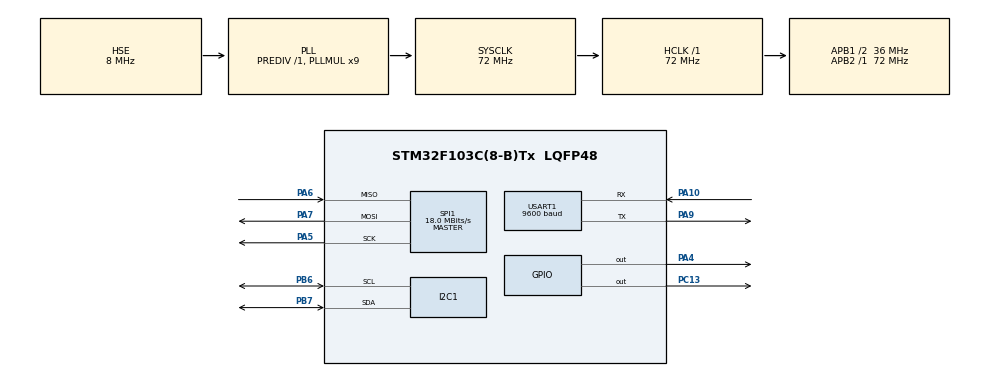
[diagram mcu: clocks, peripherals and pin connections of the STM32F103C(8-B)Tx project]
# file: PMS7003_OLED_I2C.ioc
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Mcu.Family=STM32F1
Mcu.Name=STM32F103C(8-B)Tx
Mcu.Package=LQFP48
NVIC.PriorityGroup=NVIC_PRIORITYGROUP_4
PA10.Mode=Asynchronous
PA10.Signal=USART1_RX
PA13.Mode=Serial_Wire
PA13.Signal=SYS_JTMS-SWDIO
PA14.Mode=Serial_Wire
PA14.Signal=SYS_JTCK-SWCLK
PA4.Signal=GPIO_Output
PA5.Mode=Full_Duplex_Master
PA5.Signal=SPI1_SCK
PA6.Mode=Full_Duplex_Master
PA6.Signal=SPI1_MISO
PA7.Mode=Full_Duplex_Master
PA7.Signal=SPI1_MOSI
PA9.Mode=Asynchronous
PA9.Signal=USART1_TX
PB6.Mode=I2C
PB6.Signal=I2C1_SCL
PB7.Mode=I2C
PB7.Signal=I2C1_SDA
PC13-TAMPER-RTC.Signal=GPIO_Output
PC14-OSC32_IN.Mode=LSE-External-Oscillator
PC14-OSC32_IN.Signal=RCC_OSC32_IN
PC15-OSC32_OUT.Mode=LSE-External-Oscillator
PC15-OSC32_OUT.Signal=RCC_OSC32_OUT
PD0-OSC_IN.Mode=HSE-External-Oscillator
PD0-OSC_IN.Signal=RCC_OSC_IN
PD1-OSC_OUT.Mode=HSE-External-Oscillator
PD1-OSC_OUT.Signal=RCC_OSC_OUT
ProjectManager.HeapSize=0x200
ProjectManager.StackSize=0x400
ProjectManager.TargetToolchain=CMake
RCC.AHBFreq_Value=72000000
RCC.APB1CLKDivider=RCC_HCLK_DIV2
RCC.APB1Freq_Value=36000000
RCC.APB1TimFreq_Value=72000000
RCC.APB2Freq_Value=72000000
RCC.APB2TimFreq_Value=72000000
RCC.EnbaleCSS=true
RCC.HCLKFreq_Value=72000000
RCC.PLLMUL=RCC_PLL_MUL9
RCC.PLLSourceVirtual=RCC_PLLSOURCE_HSE
RCC.SYSCLKFreq_VALUE=72000000
RCC.SYSCLKSource=RCC_SYSCLKSOURCE_PLLCLK
RCC.USBFreq_Value=72000000
SPI1.BaudRatePrescaler=SPI_BAUDRATEPRESCALER_4
SPI1.CalculateBaudRate=18.0 MBits/s
SPI1.Direction=SPI_DIRECTION_2LINES
SPI1.Mode=SPI_MODE_MASTER
SPI1.VirtualType=VM_MASTER
USART1.BaudRate=9600
USART1.VirtualMode=VM_ASYNC
VP_FATFS_VS_Generic.Mode=User_defined
board=custom

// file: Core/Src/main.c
/* USER CODE BEGIN Header */
/**
 ******************************************************************************
 * @file           : main.c
 * @brief          : Main program body
 * @note Font policy: use only permissively licensed fonts with redistribution
 *       rights for production builds. Avoid vendor-branded fonts such as
 *       Adobe/DEC X11 fonts unless their license has been reviewed.
 *       For development and testing, any fonts can be used, but for production,
 *       ensure that the fonts included in the final build comply with licensing
 ******************************************************************************
 */
/* USER CODE END Header */
#include "main.h"
#include "fatfs.h"
#include "i2c.h"
#include "spi.h"
#include "usart.h"
#include "gpio.h"

/* USER CODE BEGIN Includes */
#include "u8g2.h" // u8g2 라이브러리 헤더 포함
#include "pms7003.h"
#include "bme280.h"
#include "scd41.h"
#include "ds1307.h"
#include "sd_logger.h"
#include "fatfs_sd.h"
#include <stdio.h>
#include <string.h>
/* USER CODE END Includes */

/* USER CODE BEGIN PD */
#define DISPLAY_UPDATE_MS 1000U
#define SCREEN_CHANGE_MS 5000U
#define SCREEN_COUNT 7U

#define DISPLAY_TITLE_FONT u8g2_font_7x13_tr
#define DISPLAY_BODY_FONT u8g2_font_6x10_tr
#define DISPLAY_SMALL_FONT u8g2_font_5x7_tr

/* USER CODE END PD */

/* USER CODE BEGIN PV */
u8g2_t u8g2; // U8g2 핸들(구조체) 변수 선언
/** @brief OLED 화면을 마지막으로 갱신한 시간(ms), HAL_GetTick() 기준 */
static uint32_t last_display_tick = 0;

/** @brief 센서 데이터를 마지막으로 읽은 시간(ms), HAL_GetTick() 기준 */
static uint32_t last_sensor_tick = 0;

/** @brief SD카드에 CSV 로그를 마지막으로 저장한 시간(ms), HAL_GetTick() 기준 */
static uint32_t last_log_tick = 0;

/** @brief 상태 LED를 마지막으로 토글한 시간(ms), HAL_GetTick() 기준 */
static uint32_t last_led_tick = 0;

static PMS_Data_t last_dust_data = {0};
static uint8_t dust_ready = 0;

static BME280_Data_t last_env_data = {0};
static uint8_t env_ready = 0;

static SCD41_Data_t last_scd_data = {0};
static uint8_t scd_ready = 0;

static DS1307_Time_t current_time = {0};
static uint8_t rtc_ready = 0;
/* USER CODE END PV */

void SystemClock_Config(void);
/* USER CODE BEGIN PFP */
// U8g2와 STM32 HAL I2C/GPIO를 연결해주는 콜백 함수들
uint8_t u8x8_byte_stm32_hw_i2c(u8x8_t *u8x8, uint8_t msg, uint8_t arg_int, void *arg_ptr);
// 함수의 반환 타입을 void -> uint8_t 로 변경
uint8_t u8x8_gpio_and_delay_stm32(u8x8_t *u8x8, uint8_t msg, uint8_t arg_int, void *arg_ptr);
/* USER CODE END PFP */

int main(void)
{

    /* MCU Configuration--------------------------------------------------------*/

    /* Reset of all peripherals, Initializes the Flash interface and the Systick. */
    HAL_Init();

    /* Configure the system clock */
    SystemClock_Config();

    /* Initialize all configured peripherals */
    MX_GPIO_Init();
    MX_I2C1_Init();
    MX_USART1_UART_Init();
    MX_SPI1_Init();
    MX_FATFS_Init();
    /* USER CODE BEGIN 2 */

    u8g2_Setup_ssd1306_i2c_128x64_noname_f(
        &u8g2, U8G2_R0, u8x8_byte_stm32_hw_i2c,
        u8x8_gpio_and_delay_stm32); // 뒤에 있는건 함수 콜백 (함수 원형 넘겨서 해당 함수가 나중에
                                    // 라이브러리에서 호출될 수 있게 함)
    u8g2_InitDisplay(&u8g2);        // 디스플레이 초기화
    u8g2_SetPowerSave(&u8g2, 0);    // 절전 모드 비활성화

    pms_init();          // 미세먼지 센서 UART 수신 초기화
    BME280_Init(&hi2c1); // BME280 센서 I2C 초기화
    SCD41_Init(&hi2c1);  // SCD41 센서 I2C 초기화
    DS1307_Init(&hi2c1); // DS1307 RTC I2C 초기화

    SD_Logger_Init(); // Initialize SD FatFs logger and retry state.
                      /* USER CODE END 2 */

    /* Infinite loop */
    while (1)
    {

        /* USER CODE BEGIN 3 */
        // 온보드 LED (PC13) 토글
        uint32_t now = HAL_GetTick();

        /* 1초마다 LED 토글 */
        if ((uint32_t)(now - last_led_tick) >= 1000U)
        {
            HAL_GPIO_TogglePin(GPIOC, GPIO_PIN_13);
            last_led_tick = now;
        }

        /* SD 카드 상태 관리 */
        SD_Logger_Service();

        /* 1초마다 센서 데이터 갱신 */
        if ((uint32_t)(now - last_sensor_tick) >= 1000U)
        {
            if (PMS7003_ReadData(&last_dust_data))
            {
                dust_ready = 1;
            }

            if (BME280_ReadData(&last_env_data))
            {
                env_ready = 1;
            }

            if (SCD41_ReadData(&last_scd_data))
            {
                scd_ready = 1;
            }

            if (DS1307_GetTime(&current_time))
            {
                rtc_ready = 1;
            }

            last_sensor_tick = now;
        }

        /* 1초마다 SD 로그 저장 */
        if (rtc_ready && (uint32_t)(now - last_log_tick) >= 1000U)
        {
            SD_Logger_Write_CSV(&current_time, &last_env_data, &last_scd_data, &last_dust_data);

            last_log_tick = now;
        }

        /* Update OLED at a fixed cadence. */
        if ((uint32_t)(now - last_display_tick) >= DISPLAY_UPDATE_MS)
        {
            last_display_tick = now;

            uint8_t screen_mode = (now / SCREEN_CHANGE_MS) % SCREEN_COUNT;
            char buf[32];

            u8g2_ClearBuffer(&u8g2);
            switch (screen_mode)
            {
            case 0:
            {
                u8g2_SetFont(&u8g2, DISPLAY_TITLE_FONT);
                u8g2_DrawStr(&u8g2, 0, 12, "TIME");

                u8g2_SetFont(&u8g2, DISPLAY_BODY_FONT);
                if (rtc_ready)
                {
                    sprintf(buf, "20%02d/%02d/%02d", current_time.year, current_time.month,
                            current_time.dayofmonth);
                    u8g2_DrawStr(&u8g2, 0, 34, buf);
                    sprintf(buf, "%02d:%02d:%02d", current_time.hour, current_time.minutes,
                            current_time.seconds);
                    u8g2_DrawStr(&u8g2, 0, 56, buf);
                }
                else
                {
                    u8g2_DrawStr(&u8g2, 0, 36, "RTC not ready");
                }
                break;
            }
            case 1:
            {
                u8g2_SetFont(&u8g2, DISPLAY_TITLE_FONT);
                u8g2_DrawStr(&u8g2, 0, 12, "DUST");

                u8g2_SetFont(&u8g2, DISPLAY_BODY_FONT);
                if (dust_ready)
                {
                    sprintf(buf, "PM1.0  %4d ug", last_dust_data.pm1_0_atm);
                    u8g2_DrawStr(&u8g2, 0, 30, buf);
                    sprintf(buf, "PM2.5  %4d ug", last_dust_data.pm2_5_atm);
                    u8g2_DrawStr(&u8g2, 0, 45, buf);
                    sprintf(buf, "PM10   %4d ug", last_dust_data.pm10_0_atm);
                    u8g2_DrawStr(&u8g2, 0, 60, buf);
                }
                else
                {
                    u8g2_DrawStr(&u8g2, 0, 36, "PMS waiting");
                }
                break;
            }
            case 2:
            {
                u8g2_SetFont(&u8g2, DISPLAY_SMALL_FONT);
                u8g2_DrawStr(&u8g2, 0, 8, "DUST MASS");

                if (dust_ready)
                {
                    sprintf(buf, "CF1 1.0 %5u", (unsigned int)last_dust_data.pm1_0_cf1);
                    u8g2_DrawStr(&u8g2, 0, 18, buf);
                    sprintf(buf, "CF1 2.5 %5u", (unsigned int)last_dust_data.pm2_5_cf1);
                    u8g2_DrawStr(&u8g2, 0, 27, buf);
                    sprintf(buf, "CF1 10  %5u", (unsigned int)last_dust_data.pm10_0_cf1);
                    u8g2_DrawStr(&u8g2, 0, 36, buf);
                    sprintf(buf, "ATM 1.0 %5u", (unsigned int)last_dust_data.pm1_0_atm);
                    u8g2_DrawStr(&u8g2, 0, 45, buf);
                    sprintf(buf, "ATM 2.5 %5u", (unsigned int)last_dust_data.pm2_5_atm);
                    u8g2_DrawStr(&u8g2, 0, 54, buf);
                    sprintf(buf, "ATM 10  %5u", (unsigned int)last_dust_data.pm10_0_atm);
                    u8g2_DrawStr(&u8g2, 0, 63, buf);
                }
                else
                {
                    u8g2_SetFont(&u8g2, DISPLAY_BODY_FONT);
                    u8g2_DrawStr(&u8g2, 0, 36, "PMS waiting");
                }
                break;
            }
            case 3:
            {
                u8g2_SetFont(&u8g2, DISPLAY_SMALL_FONT);
                u8g2_DrawStr(&u8g2, 0, 8, "DUST COUNT / 0.1L");

                if (dust_ready)
                {
                    sprintf(buf, ">0.3um %5u", (unsigned int)last_dust_data.particles_0_3um);
                    u8g2_DrawStr(&u8g2, 0, 18, buf);
                    sprintf(buf, ">0.5um %5u", (unsigned int)last_dust_data.particles_0_5um);
                    u8g2_DrawStr(&u8g2, 0, 27, buf);
                    sprintf(buf, ">1.0um %5u", (unsigned int)last_dust_data.particles_1_0um);
                    u8g2_DrawStr(&u8g2, 0, 36, buf);
                    sprintf(buf, ">2.5um %5u", (unsigned int)last_dust_data.particles_2_5um);
                    u8g2_DrawStr(&u8g2, 0, 45, buf);
                    sprintf(buf, ">5.0um %5u", (unsigned int)last_dust_data.particles_5_0um);
                    u8g2_DrawStr(&u8g2, 0, 54, buf);
                    sprintf(buf, ">10 um %5u", (unsigned int)last_dust_data.particles_10_0um);
                    u8g2_DrawStr(&u8g2, 0, 63, buf);
                }
                else
                {
                    u8g2_SetFont(&u8g2, DISPLAY_BODY_FONT);
                    u8g2_DrawStr(&u8g2, 0, 36, "PMS waiting");
                }
                break;
            }
            case 4:
            {
                u8g2_SetFont(&u8g2, DISPLAY_TITLE_FONT);
                u8g2_DrawStr(&u8g2, 0, 12, "BME280");

                u8g2_SetFont(&u8g2, DISPLAY_BODY_FONT);
                if (env_ready)
                {
                    int temp_int = (int)(last_env_data.temperature);
                    int temp_frac = (int)(last_env_data.temperature * 10) % 10;
                    int humi_int = (int)(last_env_data.humidity);
                    int humi_frac = (int)(last_env_data.humidity * 10) % 10;
                    int pres_int = (int)(last_env_data.pressure);
                    if (temp_frac < 0)
                        temp_frac = -temp_frac;
                    sprintf(buf, "Temp  %d.%d C", temp_int, temp_frac);
                    u8g2_DrawStr(&u8g2, 0, 30, buf);
                    sprintf(buf, "Humi  %d.%d %%", humi_int, humi_frac);
                    u8g2_DrawStr(&u8g2, 0, 45, buf);
                    sprintf(buf, "Pres  %d hPa", pres_int);
                    u8g2_DrawStr(&u8g2, 0, 60, buf);
                }
                else
                {
                    u8g2_DrawStr(&u8g2, 0, 36, "BME waiting");
                }
                break;
            }
            case 5:
            {
                u8g2_SetFont(&u8g2, DISPLAY_TITLE_FONT);
                u8g2_DrawStr(&u8g2, 0, 12, "SCD41");

                u8g2_SetFont(&u8g2, DISPLAY_BODY_FONT);
                if (scd_ready)
                {
                    int temp_int = (int)(last_scd_data.temperature);
                    int temp_frac = (int)(last_scd_data.temperature * 10) % 10;
                    int humi_int = (int)(last_scd_data.humidity);
                    int humi_frac = (int)(last_scd_data.humidity * 10) % 10;
                    if (temp_frac < 0)
                        temp_frac = -temp_frac;
                    sprintf(buf, "CO2   %d ppm", last_scd_data.co2);
                    u8g2_DrawStr(&u8g2, 0, 30, buf);
                    sprintf(buf, "Temp  %d.%d C", temp_int, temp_frac);
                    u8g2_DrawStr(&u8g2, 0, 45, buf);
                    sprintf(buf, "Humi  %d.%d %%", humi_int, humi_frac);
                    u8g2_DrawStr(&u8g2, 0, 60, buf);
                }
                else
                {
                    u8g2_DrawStr(&u8g2, 0, 36, "SCD waiting");
                }
                break;
            }
            case 6:
            {
                u8g2_SetFont(&u8g2, DISPLAY_TITLE_FONT);
                u8g2_DrawStr(&u8g2, 0, 12, "SD CARD");

                u8g2_SetFont(&u8g2, DISPLAY_BODY_FONT);
                if (sd_status == SD_STATUS_OK)
                {
                    u8g2_DrawStr(&u8g2, 0, 28, "Logging active");
                }
                else if (sd_error_stage == SD_ERROR_STAGE_MOUNT && last_fres == FR_NOT_READY)
                {
                    u8g2_DrawStr(&u8g2, 0, 28, "SD card removed");
                }
                else if (sd_status == SD_STATUS_RETRY)
                {
                    u8g2_DrawStr(&u8g2, 0, 28, "SD error/retry");
                }
                else
                {
                    u8g2_DrawStr(&u8g2, 0, 28, "Preparing SD");
                }
                if (sd_status != SD_STATUS_OK)
                {
                    u8g2_SetFont(&u8g2, DISPLAY_SMALL_FONT);
                    if (sd_status == SD_STATUS_RETRY)
                    {
                        if (sd_reconnecting)
                        {
                            u8g2_DrawStr(&u8g2, 0, 40, "Reconnecting...");
                        }
                        else
                        {
                            sprintf(buf, "Retry in %u sec", sd_retry_seconds);
                            u8g2_DrawStr(&u8g2, 0, 40, buf);
                        }
                        sprintf(buf, "F:%u S:%u D:%u", (unsigned int)last_fres,
                                (unsigned int)sd_error_stage, (unsigned int)sd_disk_result);
                        u8g2_DrawStr(&u8g2, 0, 50, buf);
                        sprintf(buf, "C:%02X R:%02X T:%02X", (unsigned int)sd_last_cmd,
                                (unsigned int)sd_last_resp, (unsigned int)sd_last_token);
                        u8g2_DrawStr(&u8g2, 0, 60, buf);
                    }
                    break;
                }

                // Display the latest CSV line attempted for SD write.
                u8g2_SetFont(&u8g2, DISPLAY_SMALL_FONT); // 작은 폰트 사용
                char line1[22] = {0};
                char line2[22] = {0};
                char line3[22] = {0};
                strncpy(line1, last_log_attempt, 21);
                if (strlen(last_log_attempt) > 21)
                {
                    strncpy(line2, last_log_attempt + 21, 21);
                }
                if (strlen(last_log_attempt) > 42)
                {
                    strncpy(line3, last_log_attempt + 42, 21);
                }
                u8g2_DrawStr(&u8g2, 0, 40, line1);
                u8g2_DrawStr(&u8g2, 0, 50, line2);
                u8g2_DrawStr(&u8g2, 0, 60, line3);
                break;
            }
            }

            u8g2_SendBuffer(&u8g2); // 내부 메모리의 내용을 실제 화면으로 전송합니다.
        }

        // Sensor samples are logged once per second by SD_Logger_Write_CSV().
    }
    /* USER CODE END 3 */
}

void SystemClock_Config(void)
{
    RCC_OscInitTypeDef RCC_OscInitStruct = {0};
    RCC_ClkInitTypeDef RCC_ClkInitStruct = {0};

    /** Initializes the RCC Oscillators according to the specified parameters
     * in the RCC_OscInitTypeDef structure.
     */
    RCC_OscInitStruct.OscillatorType = RCC_OSCILLATORTYPE_HSE;
    RCC_OscInitStruct.HSEState = RCC_HSE_ON;
    RCC_OscInitStruct.HSEPredivValue = RCC_HSE_PREDIV_DIV1;
    RCC_OscInitStruct.HSIState = RCC_HSI_ON;
    RCC_OscInitStruct.PLL.PLLState = RCC_PLL_ON;
    RCC_OscInitStruct.PLL.PLLSource = RCC_PLLSOURCE_HSE;
    RCC_OscInitStruct.PLL.PLLMUL = RCC_PLL_MUL9;
    if (HAL_RCC_OscConfig(&RCC_OscInitStruct) != HAL_OK)
    {
        Error_Handler();
    }

    /** Initializes the CPU, AHB and APB buses clocks
     */
    RCC_ClkInitStruct.ClockType =
        RCC_CLOCKTYPE_HCLK | RCC_CLOCKTYPE_SYSCLK | RCC_CLOCKTYPE_PCLK1 | RCC_CLOCKTYPE_PCLK2;
    RCC_ClkInitStruct.SYSCLKSource = RCC_SYSCLKSOURCE_PLLCLK;
    RCC_ClkInitStruct.AHBCLKDivider = RCC_SYSCLK_DIV1;
    RCC_ClkInitStruct.APB1CLKDivider = RCC_HCLK_DIV2;
    RCC_ClkInitStruct.APB2CLKDivider = RCC_HCLK_DIV1;

    if (HAL_RCC_ClockConfig(&RCC_ClkInitStruct, FLASH_LATENCY_2) != HAL_OK)
    {
        Error_Handler();
    }

    /** Enables the Clock Security System
     */
    HAL_RCC_EnableCSS();
}

/* USER CODE BEGIN 4 */
/**
 * u8x8_byte_stm32_hw_i2c - U8g2 byte callback for STM32 HAL I2C.
 * @msg: U8x8 byte operation command.
 * @arg_int: Number of bytes to send from @arg_ptr.
 * @arg_ptr: Pointer to byte data provided by U8g2.
 *
 * Return: 1 when the callback handled the request.
 */
uint8_t u8x8_byte_stm32_hw_i2c(u8x8_t *u8x8, uint8_t msg, uint8_t arg_int, void *arg_ptr)
{
    static uint8_t buffer[32];
    static uint8_t buf_idx;
    uint8_t *data;

    switch (msg)
    {
    case U8X8_MSG_BYTE_SEND:
        data = (uint8_t *)arg_ptr;
        while (arg_int > 0)
        {
            buffer[buf_idx++] = *data;
            data++;
            arg_int--;
        }
        break;
    case U8X8_MSG_BYTE_INIT:
        break;
    case U8X8_MSG_BYTE_SET_DC:
        break;
    case U8X8_MSG_BYTE_START_TRANSFER:
        buf_idx = 0;
        break;
    case U8X8_MSG_BYTE_END_TRANSFER:
        if (HAL_I2C_Master_Transmit(&hi2c1, u8x8_GetI2CAddress(u8x8), buffer, buf_idx,
                                    HAL_MAX_DELAY) != HAL_OK)
        {
            return 0;
        }
        break;
    default:
        return 0;
    }
    return 1;
}

// U8g2가 딜레이나 GPIO 제어를 요청할 때 호출되는 콜백 함수
uint8_t u8x8_gpio_and_delay_stm32(u8x8_t *u8x8, uint8_t msg, uint8_t arg_int, void *arg_ptr)
{
    switch (msg)
    {
    case U8X8_MSG_GPIO_AND_DELAY_INIT:
        break;
    case U8X8_MSG_DELAY_MILLI:
        HAL_Delay(arg_int);
        break;
    default:
        u8x8_SetGPIOResult(u8x8, 1);
        break;
    }
    return 1;
}
/* USER CODE END 4 */

void Error_Handler(void)
{
    __disable_irq();
    while (1)
    {
    }
}
